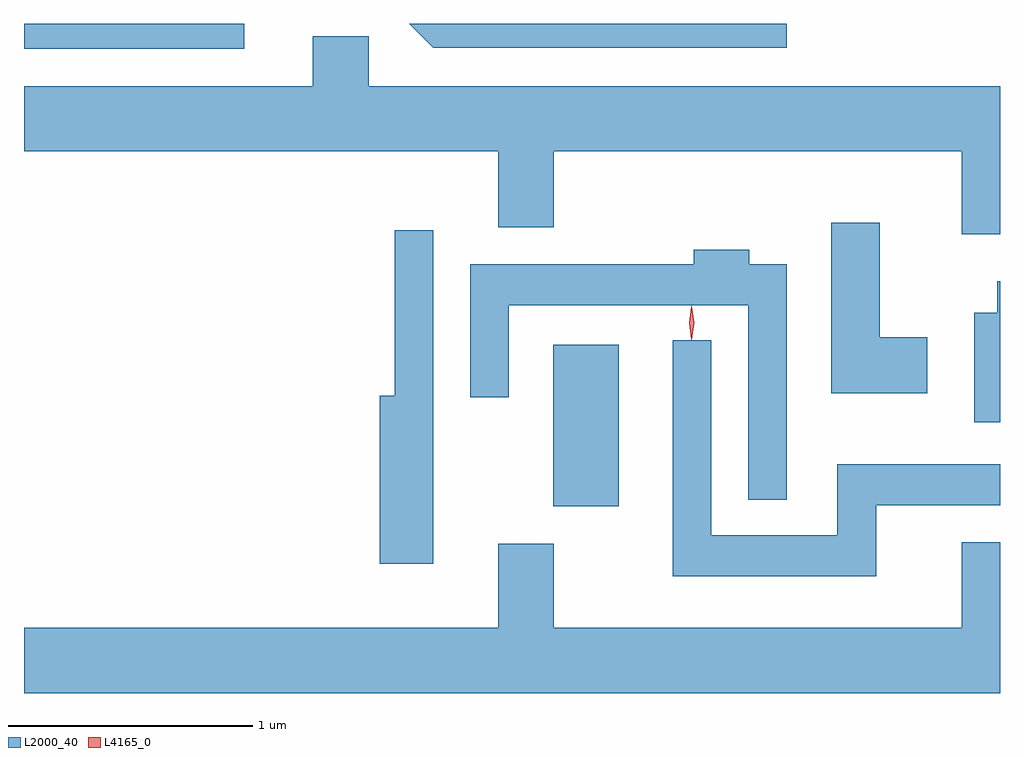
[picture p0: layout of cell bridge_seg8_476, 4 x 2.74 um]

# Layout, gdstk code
import gdstk
lib = gdstk.Library(unit=1e-6, precision=1e-09)
def R(c, l, rs):  # rectangles x0, y0, x1, y1
    for r in rs: c.add(gdstk.rectangle(r[:2], r[2:], *l))
def P(c, l, *ps):  # polygons
    for p in ps: c.add(gdstk.Polygon(p, *l))
L2000_40 = (2000, 40)
L4165_0 = (4165, 0)

bridge_seg8_476 = lib.new_cell('bridge_seg8_476')
R(bridge_seg8_476, L2000_40, [(509.786,1928.201,510.054,1928.864), (507.617,1930.076,508.519,1930.179)])
P(bridge_seg8_476, L2000_40, [(510.744,1930.179),(509.196,1930.179),(509.294,1930.081),(510.744,1930.081)],
  [(511.617,1929.924),(509.029,1929.924),(509.029,1930.129),(508.801,1930.129),(508.801,1929.924),(507.617,1929.924),(507.617,1929.656),(509.561,1929.656),(509.561,1929.346),(509.789,1929.346),(509.789,1929.656),(511.461,1929.656),(511.461,1929.316),(511.617,1929.316)],
  [(511.319,1928.894),(511.124,1928.894),(511.124,1929.364),(510.926,1929.364),(510.926,1928.666),(511.319,1928.666)],
  [(509.294,1929.333),(509.136,1929.333),(509.136,1928.654),(509.076,1928.654),(509.076,1927.966),(509.294,1927.966)],
  [(510.744,1929.194),(510.589,1929.194),(510.589,1929.254),(510.361,1929.254),(510.361,1929.194),(509.446,1929.194),(509.446,1928.648),(509.604,1928.648),(509.604,1929.026),(510.586,1929.026),(510.586,1928.228),(510.744,1928.228)],
  [(511.617,1929.124),(511.606,1929.124),(511.606,1928.994),(511.511,1928.994),(511.511,1928.546),(511.617,1928.546)],
  [(511.109,1928.206),(511.617,1928.206),(511.617,1928.374),(510.951,1928.374),(510.951,1928.084),(510.434,1928.084),(510.434,1928.883),(510.276,1928.883),(510.276,1927.916),(511.109,1927.916)],
  [(511.617,1928.054),(511.461,1928.054),(511.461,1927.704),(509.789,1927.704),(509.789,1928.049),(509.561,1928.049),(509.561,1927.704),(507.617,1927.704),(507.617,1927.436),(511.617,1927.436)])
P(bridge_seg8_476, L4165_0, [(510.353,1928.884),(510.344,1928.953),(510.353,1929.022),(510.354,1929.023),(510.354,1929.022),(510.364,1928.953),(510.354,1928.884),(510.354,1928.884)],
  [(510.352,1928.887),(510.343,1928.954),(510.352,1929.02),(510.352,1929.02),(510.353,1929.02),(510.362,1928.954),(510.353,1928.887),(510.353,1928.887)])

lib.write_gds('bridge_seg8_476.gds')
